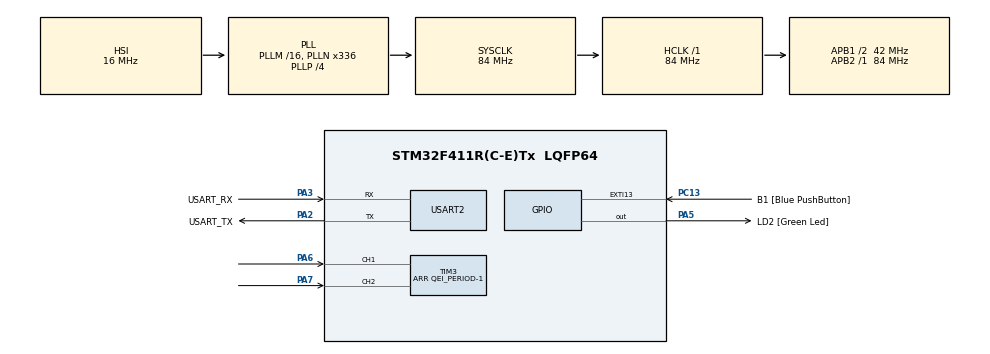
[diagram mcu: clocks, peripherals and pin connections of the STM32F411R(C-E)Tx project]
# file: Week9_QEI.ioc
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Mcu.Family=STM32F4
Mcu.Name=STM32F411R(C-E)Tx
Mcu.Package=LQFP64
Mcu.UserConstants=QEI_PERIOD,64512
NVIC.PriorityGroup=NVIC_PRIORITYGROUP_0
NVIC.TIM5_IRQn=true\:0\:0\:false\:false\:true\:true\:true\:true
PA13.GPIO_Label=TMS
PA13.Mode=Trace_Asynchronous_SW
PA13.Signal=SYS_JTMS-SWDIO
PA14.GPIO_Label=TCK
PA14.Mode=Trace_Asynchronous_SW
PA14.Signal=SYS_JTCK-SWCLK
PA2.GPIO_Label=USART_TX
PA2.Mode=Asynchronous
PA2.Signal=USART2_TX
PA3.GPIO_Label=USART_RX
PA3.Mode=Asynchronous
PA3.Signal=USART2_RX
PA5.GPIO_Label=LD2 [Green Led]
PA5.Signal=GPIO_Output
PA6.Signal=S_TIM3_CH1
PA7.Signal=S_TIM3_CH2
PB3.GPIO_Label=SWO
PB3.Mode=Trace_Asynchronous_SW
PB3.Signal=SYS_JTDO-SWO
PC13-ANTI_TAMP.GPIO_Label=B1 [Blue PushButton]
PC13-ANTI_TAMP.GPIO_ModeDefaultEXTI=GPIO_MODE_IT_FALLING
PC13-ANTI_TAMP.Signal=GPXTI13
PC14-OSC32_IN.Mode=LSE-External-Oscillator
PC14-OSC32_IN.Signal=RCC_OSC32_IN
PC15-OSC32_OUT.Mode=LSE-External-Oscillator
PC15-OSC32_OUT.Signal=RCC_OSC32_OUT
PH0\ -\ OSC_IN.Mode=HSE-External-Clock-Source
PH0\ -\ OSC_IN.Signal=RCC_OSC_IN
PH1\ -\ OSC_OUT.Mode=HSE-External-Clock-Source
PH1\ -\ OSC_OUT.Signal=RCC_OSC_OUT
ProjectManager.HeapSize=0x200
ProjectManager.StackSize=0x400
ProjectManager.TargetToolchain=STM32CubeIDE
RCC.48MHZClocksFreq_Value=84000000
RCC.AHBFreq_Value=84000000
RCC.APB1CLKDivider=RCC_HCLK_DIV2
RCC.APB1Freq_Value=42000000
RCC.APB1TimFreq_Value=84000000
RCC.APB2Freq_Value=84000000
RCC.APB2TimFreq_Value=84000000
RCC.CortexFreq_Value=84000000
RCC.FLatency-AdvancedSettings=FLASH_LATENCY_2
RCC.HCLKFreq_Value=84000000
RCC.HSE_VALUE=8000000
RCC.HSI_VALUE=16000000
RCC.PLLN=336
RCC.PLLP=RCC_PLLP_DIV4
RCC.SYSCLKFreq_VALUE=84000000
RCC.SYSCLKSource=RCC_SYSCLKSOURCE_PLLCLK
RCC.VCOOutputFreq_Value=336000000
SH.S_TIM3_CH1.0=TIM3_CH1,Encoder_Interface
SH.S_TIM3_CH2.0=TIM3_CH2,Encoder_Interface
TIM3.EncoderMode=TIM_ENCODERMODE_TI12
TIM3.Period=QEI_PERIOD-1
TIM5.Prescaler=83
USART2.VirtualMode=VM_ASYNC
VP_TIM5_VS_ClockSourceINT.Mode=Internal
board=NUCLEO-F411RE

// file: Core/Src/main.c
/* USER CODE BEGIN Header */
/**
  ******************************************************************************
  * @file           : main.c
  * @brief          : Main program body
  ******************************************************************************
  * @attention
  *
  * Copyright (c) 2023 STMicroelectronics.
  * All rights reserved.
  *
  * This software is licensed under terms that can be found in the LICENSE file
  * in the root directory of this software component.
  * If no LICENSE file comes with this software, it is provided AS-IS.
  *
  ******************************************************************************
  */
/* USER CODE END Header */
#include "main.h"

TIM_HandleTypeDef htim3;
TIM_HandleTypeDef htim5;

UART_HandleTypeDef huart2;

/* USER CODE BEGIN PV */
uint32_t QEIReadRaw;
float theta;

struct _GPIOstate
{
	uint16_t Current;
	uint16_t Last;
};

struct _GPIOstate QEI_Read;

uint32_t count;

typedef struct _QEIStructure
{
	uint32_t data[2]; //Position data contenter
	uint64_t timestamp[2];

	float QEIPosition; //step
	float QEIVelocity; //step/sec
}QEIStructureTypedef;
QEIStructureTypedef QEIData = {0};

uint64_t _micros = 0;
/* USER CODE END PV */

void SystemClock_Config(void);
static void MX_GPIO_Init(void);
static void MX_USART2_UART_Init(void);
static void MX_TIM3_Init(void);
static void MX_TIM5_Init(void);
/* USER CODE BEGIN PFP */
inline uint64_t micros();
void QEIEncoderPositionVelocity_Update();
/* USER CODE END PFP */

int main(void)
{

  /* MCU Configuration--------------------------------------------------------*/

  /* Reset of all peripherals, Initializes the Flash interface and the Systick. */
  HAL_Init();

  /* Configure the system clock */
  SystemClock_Config();

  /* Initialize all configured peripherals */
  MX_GPIO_Init();
  MX_USART2_UART_Init();
  MX_TIM3_Init();
  MX_TIM5_Init();
  /* USER CODE BEGIN 2 */
  HAL_TIM_Encoder_Start(&htim3, TIM_CHANNEL_1|TIM_CHANNEL_2);
  HAL_TIM_Base_Start(&htim5);
  /* USER CODE END 2 */

  /* Infinite loop */
  while (1)
  {

    /* USER CODE BEGIN 3 */
	  static uint32_t timestamp =0;
	  int64_t currentTime = micros();
	  if(currentTime>timestamp) // 10 Hz
	  {
		  timestamp = currentTime + 100000;
		  QEIEncoderPositionVelocity_Update();
//		  QEIReadRaw = __HAL_TIM_GET_COUNTER(&htim3);
//		  printf("Position = %ld\n",QEIReadRaw);

	  }
//	  QEIReadRaw = __HAL_TIM_GET_COUNTER(&htim3);
//
//	  theta = (QEIReadRaw/3072.0)*360.0;
//
//	  QEI_Read.Current = QEIReadRaw;
//	  if(QEI_Read.Current - QEI_Read.Last >  2000)
//	  {
//		  count++;
//	  }
//	  QEI_Read.Last = QEI_Read.Current;
  }
  /* USER CODE END 3 */
}

void SystemClock_Config(void)
{
  RCC_OscInitTypeDef RCC_OscInitStruct = {0};
  RCC_ClkInitTypeDef RCC_ClkInitStruct = {0};

  /** Configure the main internal regulator output voltage
  */
  __HAL_RCC_PWR_CLK_ENABLE();
  __HAL_PWR_VOLTAGESCALING_CONFIG(PWR_REGULATOR_VOLTAGE_SCALE1);

  /** Initializes the RCC Oscillators according to the specified parameters
  * in the RCC_OscInitTypeDef structure.
  */
  RCC_OscInitStruct.OscillatorType = RCC_OSCILLATORTYPE_HSI;
  RCC_OscInitStruct.HSIState = RCC_HSI_ON;
  RCC_OscInitStruct.HSICalibrationValue = RCC_HSICALIBRATION_DEFAULT;
  RCC_OscInitStruct.PLL.PLLState = RCC_PLL_ON;
  RCC_OscInitStruct.PLL.PLLSource = RCC_PLLSOURCE_HSI;
  RCC_OscInitStruct.PLL.PLLM = 16;
  RCC_OscInitStruct.PLL.PLLN = 336;
  RCC_OscInitStruct.PLL.PLLP = RCC_PLLP_DIV4;
  RCC_OscInitStruct.PLL.PLLQ = 4;
  if (HAL_RCC_OscConfig(&RCC_OscInitStruct) != HAL_OK)
  {
    Error_Handler();
  }

  /** Initializes the CPU, AHB and APB buses clocks
  */
  RCC_ClkInitStruct.ClockType = RCC_CLOCKTYPE_HCLK|RCC_CLOCKTYPE_SYSCLK
                              |RCC_CLOCKTYPE_PCLK1|RCC_CLOCKTYPE_PCLK2;
  RCC_ClkInitStruct.SYSCLKSource = RCC_SYSCLKSOURCE_PLLCLK;
  RCC_ClkInitStruct.AHBCLKDivider = RCC_SYSCLK_DIV1;
  RCC_ClkInitStruct.APB1CLKDivider = RCC_HCLK_DIV2;
  RCC_ClkInitStruct.APB2CLKDivider = RCC_HCLK_DIV1;

  if (HAL_RCC_ClockConfig(&RCC_ClkInitStruct, FLASH_LATENCY_2) != HAL_OK)
  {
    Error_Handler();
  }
}

static void MX_TIM3_Init(void)
{

  TIM_Encoder_InitTypeDef sConfig = {0};
  TIM_MasterConfigTypeDef sMasterConfig = {0};

  htim3.Instance = TIM3;
  htim3.Init.Prescaler = 0;
  htim3.Init.CounterMode = TIM_COUNTERMODE_UP;
  htim3.Init.Period = QEI_PERIOD-1;
  htim3.Init.ClockDivision = TIM_CLOCKDIVISION_DIV1;
  htim3.Init.AutoReloadPreload = TIM_AUTORELOAD_PRELOAD_DISABLE;
  sConfig.EncoderMode = TIM_ENCODERMODE_TI12;
  sConfig.IC1Polarity = TIM_ICPOLARITY_RISING;
  sConfig.IC1Selection = TIM_ICSELECTION_DIRECTTI;
  sConfig.IC1Prescaler = TIM_ICPSC_DIV1;
  sConfig.IC1Filter = 0;
  sConfig.IC2Polarity = TIM_ICPOLARITY_RISING;
  sConfig.IC2Selection = TIM_ICSELECTION_DIRECTTI;
  sConfig.IC2Prescaler = TIM_ICPSC_DIV1;
  sConfig.IC2Filter = 0;
  if (HAL_TIM_Encoder_Init(&htim3, &sConfig) != HAL_OK)
  {
    Error_Handler();
  }
  sMasterConfig.MasterOutputTrigger = TIM_TRGO_RESET;
  sMasterConfig.MasterSlaveMode = TIM_MASTERSLAVEMODE_DISABLE;
  if (HAL_TIMEx_MasterConfigSynchronization(&htim3, &sMasterConfig) != HAL_OK)
  {
    Error_Handler();
  }

}

static void MX_TIM5_Init(void)
{

  TIM_ClockConfigTypeDef sClockSourceConfig = {0};
  TIM_MasterConfigTypeDef sMasterConfig = {0};

  htim5.Instance = TIM5;
  htim5.Init.Prescaler = 83;
  htim5.Init.CounterMode = TIM_COUNTERMODE_UP;
  htim5.Init.Period = 4294967295;
  htim5.Init.ClockDivision = TIM_CLOCKDIVISION_DIV1;
  htim5.Init.AutoReloadPreload = TIM_AUTORELOAD_PRELOAD_DISABLE;
  if (HAL_TIM_Base_Init(&htim5) != HAL_OK)
  {
    Error_Handler();
  }
  sClockSourceConfig.ClockSource = TIM_CLOCKSOURCE_INTERNAL;
  if (HAL_TIM_ConfigClockSource(&htim5, &sClockSourceConfig) != HAL_OK)
  {
    Error_Handler();
  }
  sMasterConfig.MasterOutputTrigger = TIM_TRGO_RESET;
  sMasterConfig.MasterSlaveMode = TIM_MASTERSLAVEMODE_DISABLE;
  if (HAL_TIMEx_MasterConfigSynchronization(&htim5, &sMasterConfig) != HAL_OK)
  {
    Error_Handler();
  }

}

static void MX_USART2_UART_Init(void)
{

  huart2.Instance = USART2;
  huart2.Init.BaudRate = 115200;
  huart2.Init.WordLength = UART_WORDLENGTH_8B;
  huart2.Init.StopBits = UART_STOPBITS_1;
  huart2.Init.Parity = UART_PARITY_NONE;
  huart2.Init.Mode = UART_MODE_TX_RX;
  huart2.Init.HwFlowCtl = UART_HWCONTROL_NONE;
  huart2.Init.OverSampling = UART_OVERSAMPLING_16;
  if (HAL_UART_Init(&huart2) != HAL_OK)
  {
    Error_Handler();
  }

}

static void MX_GPIO_Init(void)
{
  GPIO_InitTypeDef GPIO_InitStruct = {0};

  /* GPIO Ports Clock Enable */
  __HAL_RCC_GPIOC_CLK_ENABLE();
  __HAL_RCC_GPIOH_CLK_ENABLE();
  __HAL_RCC_GPIOA_CLK_ENABLE();
  __HAL_RCC_GPIOB_CLK_ENABLE();

  /*Configure GPIO pin Output Level */
  HAL_GPIO_WritePin(LD2_GPIO_Port, LD2_Pin, GPIO_PIN_RESET);

  /*Configure GPIO pin : B1_Pin */
  GPIO_InitStruct.Pin = B1_Pin;
  GPIO_InitStruct.Mode = GPIO_MODE_IT_FALLING;
  GPIO_InitStruct.Pull = GPIO_NOPULL;
  HAL_GPIO_Init(B1_GPIO_Port, &GPIO_InitStruct);

  /*Configure GPIO pin : LD2_Pin */
  GPIO_InitStruct.Pin = LD2_Pin;
  GPIO_InitStruct.Mode = GPIO_MODE_OUTPUT_PP;
  GPIO_InitStruct.Pull = GPIO_NOPULL;
  GPIO_InitStruct.Speed = GPIO_SPEED_FREQ_LOW;
  HAL_GPIO_Init(LD2_GPIO_Port, &GPIO_InitStruct);

}

/* USER CODE BEGIN 4 */
/*re-implement _write function of printf*/
int _write(int file,char *ptr,int len)
{
	int i;

	for(i = 0;i<len; i++)
	{
		ITM_SendChar(*ptr++);
	}
	return len;
}

void QEIEncoderPositionVelocity_Update()
{
	//collect data
	QEIData.timestamp[0] = micros();
	uint32_t couterPosition = __HAL_TIM_GET_COUNTER(&htim3);
	QEIData.data[0] = couterPosition;

	//calculation
	QEIData.QEIPosition = couterPosition % 3072;

	int32_t diffPosition = QEIData.data[0] - QEIData.data[1];
	float difftime = (QEIData.timestamp[0]-QEIData.timestamp[1]);

	//handle wrap-around
	if(diffPosition > QEI_PERIOD>>1) diffPosition -= QEI_PERIOD;
	if(diffPosition < -(QEI_PERIOD>>1)) diffPosition += QEI_PERIOD;

	//calculate angular velocity in pulse per sec
	QEIData.QEIVelocity = (diffPosition*1000000)/difftime;

	QEIData.data[1] = QEIData.data[0];
	QEIData.timestamp[1] = QEIData.timestamp[0];
}

void HAL_TIM_PeriodElapsedCallback(TIM_HandleTypeDef *htim)
{
	if(htim == &htim5)
	{
		_micros += UINT32_MAX;
	}
}

uint64_t micros()
{
	return __HAL_TIM_GET_COUNTER(&htim5)+_micros;
}
/* USER CODE END 4 */

void Error_Handler(void)
{
  __disable_irq();
  while (1)
  {
  }
}
